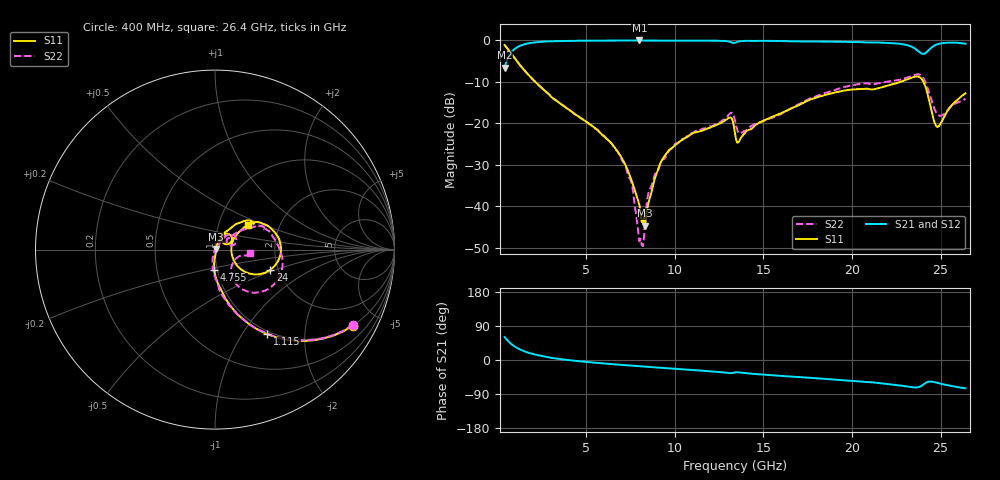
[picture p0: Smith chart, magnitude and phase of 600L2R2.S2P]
!  American Technical Ceramics  Date:  10/27/06
!  One Norden Lane
!  Huntington Station,  NY.  11746-2102
!  Tel:  (631) 622-4700  Fax:  (631) 622-4748
!  Part Number  600L2R2
!  Description: Ultra Low ESR Microwave capacitors
!  Application: Coupling, Bypass, Tuning, DC Block
!  Filters, Matching
# GHZ S DB R 50
! Freq  |S11|  S11 Ph  |S21|  S21 Ph  |S12|  S12 Ph  |S22|  S22 Ph
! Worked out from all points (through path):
!   401 points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, 400 MHz to 26.4 GHz, reference 50 ohm
!   highest |S21| = -0.02 dB at 8.005 GHz (marker M1); lowest = -6.6 dB at 400 MHz (marker M2)
!   group delay of S21, straight-line fit = 10.1 ps
!   lowest |S11| = -44.6 dB at 8.33 GHz (marker M3), VSWR 1.01, Z = 50.4 + j0.411 ohm
!   |S11| at or under -10 dB: 2.136 GHz to 22.73 GHz (20.59 GHz wide, 166 % of centre); 24.03 GHz to end of sweep
!   |S22| runs from -49.6 to -1.1 dB; largest |S21 - S12| = 0.0032
!   S11 on the Smith chart (normalised r, x): 400 MHz: 0.99, -3.64; 1.115 GHz: 0.96, -1.30; 4.755 GHz: 0.97, -0.22; 24 GHz: 1.81, -0.46; 26.4 GHz: 1.38, +0.40
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0.4  -1.13 -28.8  -6.58 60.6  -6.58 60.6  -1.14 -28.6
1.115  -5.14 -58.3  -1.63 31.5  -1.64 31.4  -5.14 -58.0
2.285  -10.62 -76.8  -0.40 12.6  -0.41 12.6  -10.62 -77.6
4.755  -18.82 -91.5  -0.09 -4.0  -0.09 -3.9  -18.89 -95.2
7.095  -28.99 -89.4  -0.05 -13.3  -0.04 -13.3  -29.31 -109.8
7.55  -33.56 -80.0  -0.04 -14.9  -0.04 -14.9  -34.09 -111.5
8.005  -39.62 -50.6  -0.02 -16.6  -0.02 -16.6  -48.40 -55.2
8.135  -43.68 -26.9  -0.04 -17.1  -0.03 -17.1  -49.23 7.8
8.33  -44.59 43.8  -0.05 -17.8  -0.04 -17.7  -42.62 8.2
8.59  -38.00 56.8  -0.06 -18.6  -0.06 -18.6  -35.84 43.1
9.11  -30.49 69.7  -0.06 -20.4  -0.05 -20.3  -30.67 49.8
9.695  -26.35 64.3  -0.06 -22.1  -0.05 -22.1  -26.43 56.0
10.995  -22.39 62.1  -0.07 -26.4  -0.06 -26.4  -22.31 54.4
13.075  -18.64 45.9  -0.31 -34.5  -0.30 -34.5  -17.77 40.2
13.4  -22.41 22.9  -0.57 -32.6  -0.56 -32.6  -19.33 13.6
13.79  -23.14 59.0  -0.16 -33.7  -0.15 -33.7  -22.20 33.2
17.755  -14.07 48.2  -0.26 -47.4  -0.25 -47.5  -13.77 34.0
22.11  -10.75 31.6  -0.64 -63.7  -0.63 -63.8  -9.87 17.4
23.28  -9.15 15.3  -1.38 -71.2  -1.37 -71.3  -8.72 -2.3
23.995  -9.68 -20.2  -3.25 -65.6  -3.24 -65.8  -8.85 -39.3
24.84  -20.85 1.8  -0.91 -60.7  -0.89 -60.8  -17.90 -41.6
26.4  -12.76 37.0  -0.81 -74.6  -0.80 -74.8  -14.03 -6.3
